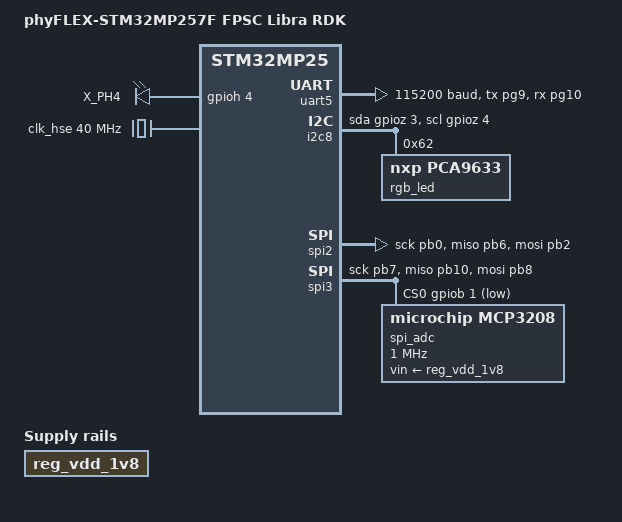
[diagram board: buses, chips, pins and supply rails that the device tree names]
/*
 * Copyright (C) 2026 PHYTEC Messtechnik GmbH
 * Authors: Hong-Ly Ky <h.ky@phytec.fr>
 *          Christophe Parant <c.parant@phytec.fr>
 *          Nicolas Raimundo <n.raimundo@phytec.fr>
 */

/dts-v1/;
#include <st/mp2/stm32mp257_m33.dtsi>
#include <st/mp2/stm32mp257fakx-pinctrl.dtsi>
#include <zephyr/dt-bindings/clock/stm32mp2_clock.h>
#include <zephyr/dt-bindings/adc/adc.h>

/ {
    model = "phyFLEX-STM32MP257F FPSC Libra RDK" ;
    compatible = "st,stm32mp25";

    aliases {
        led0 = &green_led;
        rgb-led0=&rgb_led;
        spi-adc0=&spi_adc;
    };

    reg_vdd_1v8: regulator-vdd-1v8 {
		compatible = "regulator-fixed";
		regulator-always-on;
		regulator-boot-on;
		regulator-name = "VDD_1V8";
		status="okay";
	};
    
    chosen {
        zephyr,console = &uart5;
        zephyr,shell-uart = &uart5;
        zephyr,flash = &ddr_code;
        zephyr,sram = &ddr_sys;
    };

    leds {
        compatible = "gpio-leds";

        green_led: led_0 {
            gpios = <&gpioh 4 GPIO_ACTIVE_HIGH>;
            label = "X_PH4";
        };
    };

};

&clk_hsi {
    status = "okay";
};

&clk_hse {
    clock-frequency = <DT_FREQ_M(40)>;
    status = "okay";
};

&rcc {
    clock-frequency = <DT_FREQ_M(400)>;
};

&mailbox {
    status = "okay";
};

&uart5 {
    pinctrl-0 = <&uart5_tx_pg9 &uart5_rx_pg10>;
    pinctrl-names = "default";
    current-speed = <115200>;
    status = "okay";
};

&usart6 {
	/* NOTE: optional console UART, remains disabled by default */
	pinctrl-0 = <&usart6_tx_pf13 &usart6_rx_pf14>;
	pinctrl-names = "default";
	current-speed = <115200>;
	status = "disabled";
};

&i2c8 {
	pinctrl-0 = <&i2c8_scl_pz4 &i2c8_sda_pz3>;
	pinctrl-names = "default";
	scl-gpios = <&gpioz 4 GPIO_ACTIVE_HIGH>;
	sda-gpios = <&gpioz 3 GPIO_ACTIVE_HIGH>;
	status = "okay";

    rgb_led: pca9633@62 {
		compatible="nxp,pca9633";
		reg = <0x62>;
		#address-cells = <1>;
		#size-cells = <0>;

		led_red: led_r@0 {
		label = "Red";
		reg = <0>;
		};
		led_green: led_g@1 {
		label = "Green";
		reg = <1>;
		};
		led_blue: led_b@2 {
		label = "Blue";
		reg = <2>;
		};
	};
};

&i2c1 {
	pinctrl-0 = <&i2c1_scl_pg13 &i2c1_sda_pi1>;
	pinctrl-names = "default";
	scl-gpios = <&gpiog 13 GPIO_ACTIVE_HIGH>;
	sda-gpios = <&gpioi 1 GPIO_ACTIVE_HIGH>;
	status = "disabled";
};

&i2c2 {
	pinctrl-0 = <&i2c2_scl_pb5 &i2c2_sda_pb4>;
	pinctrl-names = "default";
	scl-gpios = <&gpiob 5 GPIO_ACTIVE_HIGH>;
	sda-gpios = <&gpiob 4 GPIO_ACTIVE_HIGH>;
	status = "disabled";
};

&i2c4 {
	pinctrl-0 = <&i2c4_scl_pd11 &i2c4_sda_pd10>;
	pinctrl-names = "default";
	scl-gpios = <&gpiod 11 GPIO_ACTIVE_HIGH>;
	sda-gpios = <&gpiod 10 GPIO_ACTIVE_HIGH>;
	status = "disabled";
};

&spi2 {

	pinctrl-0 = <&spi2_sck_pb0 &spi2_miso_pb6
		     &spi2_mosi_pb2>;
    pinctrl-names = "default";
    status = "okay";

	cs-gpios = <&gpiob 3 GPIO_ACTIVE_LOW>;
    
    
};

&spi3 {
    pinctrl-0 = <&spi3_sck_pb7 &spi3_miso_pb10 &spi3_mosi_pb8>;
    pinctrl-names = "default";
    status = "okay";
    cs-gpios = <&gpiob 1 GPIO_ACTIVE_LOW>;

    spi_adc: spi_adc@0 {
        compatible = "microchip,mcp3208";
        reg = <0>;
        spi-max-frequency = <1000000>;
        vin-supply = <&reg_vdd_1v8>;
        spi-cpha;
        spi-cpol;
        #io-channel-cells = <1>;
        #address-cells = <1>;
        #size-cells = <0>;

        channel@7 {
            reg = <7>;
            zephyr,gain = "ADC_GAIN_1";
            zephyr,reference = "ADC_REF_EXTERNAL0";
            zephyr,acquisition-time = <ADC_ACQ_TIME_DEFAULT>;
            zephyr,vref-mv = <1800>;
            zephyr,resolution = <12>;
        };
    };
};

